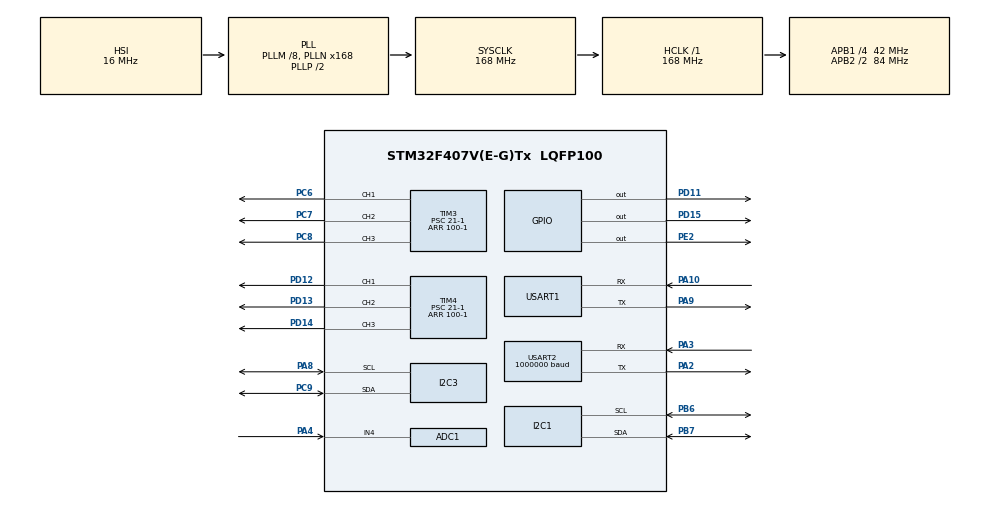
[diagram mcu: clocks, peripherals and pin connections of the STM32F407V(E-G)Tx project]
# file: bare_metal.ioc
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ADC1.Channel-0\#ChannelRegularConversion=ADC_CHANNEL_4
ADC1.NbrOfConversionFlag=1
ADC1.Rank-0\#ChannelRegularConversion=1
ADC1.SamplingTime-0\#ChannelRegularConversion=ADC_SAMPLETIME_3CYCLES
ADC1.master=1
Dma.I2C1_RX.0.Direction=DMA_PERIPH_TO_MEMORY
Dma.I2C1_RX.0.FIFOMode=DMA_FIFOMODE_DISABLE
Dma.I2C1_RX.0.Instance=DMA1_Stream0
Dma.I2C1_RX.0.MemDataAlignment=DMA_MDATAALIGN_BYTE
Dma.I2C1_RX.0.MemInc=DMA_MINC_ENABLE
Dma.I2C1_RX.0.Mode=DMA_NORMAL
Dma.I2C1_RX.0.PeriphDataAlignment=DMA_PDATAALIGN_BYTE
Dma.I2C1_RX.0.PeriphInc=DMA_PINC_DISABLE
Dma.I2C1_RX.0.Priority=DMA_PRIORITY_LOW
Dma.I2C3_RX.1.Direction=DMA_PERIPH_TO_MEMORY
Dma.I2C3_RX.1.FIFOMode=DMA_FIFOMODE_DISABLE
Dma.I2C3_RX.1.Instance=DMA1_Stream2
Dma.I2C3_RX.1.MemDataAlignment=DMA_MDATAALIGN_BYTE
Dma.I2C3_RX.1.MemInc=DMA_MINC_ENABLE
Dma.I2C3_RX.1.Mode=DMA_NORMAL
Dma.I2C3_RX.1.PeriphDataAlignment=DMA_PDATAALIGN_BYTE
Dma.I2C3_RX.1.PeriphInc=DMA_PINC_DISABLE
Dma.I2C3_RX.1.Priority=DMA_PRIORITY_LOW
Dma.Request0=I2C1_RX
Dma.Request1=I2C3_RX
Dma.Request2=USART2_RX
Dma.Request3=USART2_TX
Dma.Request4=USART1_TX
Dma.USART1_TX.4.Direction=DMA_MEMORY_TO_PERIPH
Dma.USART1_TX.4.FIFOMode=DMA_FIFOMODE_DISABLE
Dma.USART1_TX.4.Instance=DMA2_Stream7
Dma.USART1_TX.4.MemDataAlignment=DMA_MDATAALIGN_BYTE
Dma.USART1_TX.4.MemInc=DMA_MINC_ENABLE
Dma.USART1_TX.4.Mode=DMA_NORMAL
Dma.USART1_TX.4.PeriphDataAlignment=DMA_PDATAALIGN_BYTE
Dma.USART1_TX.4.PeriphInc=DMA_PINC_DISABLE
Dma.USART1_TX.4.Priority=DMA_PRIORITY_LOW
Dma.USART2_RX.2.Direction=DMA_PERIPH_TO_MEMORY
Dma.USART2_RX.2.FIFOMode=DMA_FIFOMODE_DISABLE
Dma.USART2_RX.2.Instance=DMA1_Stream5
Dma.USART2_RX.2.MemDataAlignment=DMA_MDATAALIGN_BYTE
Dma.USART2_RX.2.MemInc=DMA_MINC_ENABLE
Dma.USART2_RX.2.Mode=DMA_NORMAL
Dma.USART2_RX.2.PeriphDataAlignment=DMA_PDATAALIGN_BYTE
Dma.USART2_RX.2.PeriphInc=DMA_PINC_DISABLE
Dma.USART2_RX.2.Priority=DMA_PRIORITY_LOW
Dma.USART2_TX.3.Direction=DMA_MEMORY_TO_PERIPH
Dma.USART2_TX.3.FIFOMode=DMA_FIFOMODE_DISABLE
Dma.USART2_TX.3.Instance=DMA1_Stream6
Dma.USART2_TX.3.MemDataAlignment=DMA_MDATAALIGN_BYTE
Dma.USART2_TX.3.MemInc=DMA_MINC_ENABLE
Dma.USART2_TX.3.Mode=DMA_NORMAL
Dma.USART2_TX.3.PeriphDataAlignment=DMA_PDATAALIGN_BYTE
Dma.USART2_TX.3.PeriphInc=DMA_PINC_DISABLE
Dma.USART2_TX.3.Priority=DMA_PRIORITY_LOW
I2C1.I2C_Mode=I2C_Fast
I2C3.I2C_Mode=I2C_Fast
Mcu.Family=STM32F4
Mcu.Name=STM32F407V(E-G)Tx
Mcu.Package=LQFP100
NVIC.DMA1_Stream0_IRQn=true\:0\:0\:false\:false\:true\:false\:true\:true
NVIC.DMA1_Stream2_IRQn=true\:0\:0\:false\:false\:true\:false\:true\:true
NVIC.DMA1_Stream5_IRQn=true\:0\:0\:false\:false\:true\:false\:true\:true
NVIC.DMA1_Stream6_IRQn=true\:0\:0\:false\:false\:true\:false\:true\:true
NVIC.DMA2_Stream7_IRQn=true\:0\:0\:false\:false\:true\:false\:true\:true
NVIC.PriorityGroup=NVIC_PRIORITYGROUP_4
NVIC.TIM1_UP_TIM10_IRQn=true\:0\:0\:false\:false\:true\:true\:true\:true
NVIC.TIM2_IRQn=true\:1\:0\:true\:false\:true\:true\:true\:true
NVIC.USART1_IRQn=true\:0\:0\:true\:false\:true\:true\:true\:true
NVIC.USART2_IRQn=true\:5\:0\:true\:false\:true\:true\:true\:true
PA10.Mode=Asynchronous
PA10.Signal=USART1_RX
PA13.Mode=Serial_Wire
PA13.Signal=SYS_JTMS-SWDIO
PA14.Mode=Serial_Wire
PA14.Signal=SYS_JTCK-SWCLK
PA2.Mode=Asynchronous
PA2.Signal=USART2_TX
PA3.Mode=Asynchronous
PA3.Signal=USART2_RX
PA4.Signal=ADCx_IN4
PA8.Mode=I2C
PA8.Signal=I2C3_SCL
PA9.Mode=Asynchronous
PA9.Signal=USART1_TX
PB6.Mode=I2C
PB6.Signal=I2C1_SCL
PB7.Mode=I2C
PB7.Signal=I2C1_SDA
PC6.Signal=S_TIM3_CH1
PC7.Signal=S_TIM3_CH2
PC8.Signal=S_TIM3_CH3
PC9.Mode=I2C
PC9.Signal=I2C3_SDA
PD11.Signal=GPIO_Output
PD12.Signal=S_TIM4_CH1
PD13.Signal=S_TIM4_CH2
PD14.Signal=S_TIM4_CH3
PD15.Signal=GPIO_Output
PE2.Signal=GPIO_Output
PH0-OSC_IN.Mode=HSE-External-Oscillator
PH0-OSC_IN.Signal=RCC_OSC_IN
PH1-OSC_OUT.Mode=HSE-External-Oscillator
PH1-OSC_OUT.Signal=RCC_OSC_OUT
ProjectManager.HeapSize=0x200
ProjectManager.StackSize=0x400
ProjectManager.TargetToolchain=Makefile
RCC.48MHZClocksFreq_Value=84000000
RCC.AHBFreq_Value=168000000
RCC.APB1CLKDivider=RCC_HCLK_DIV4
RCC.APB1Freq_Value=42000000
RCC.APB1TimFreq_Value=84000000
RCC.APB2CLKDivider=RCC_HCLK_DIV2
RCC.APB2Freq_Value=84000000
RCC.APB2TimFreq_Value=168000000
RCC.CortexFreq_Value=168000000
RCC.HCLKFreq_Value=168000000
RCC.HSE_VALUE=8000000
RCC.HSI_VALUE=16000000
RCC.LSE_VALUE=32768
RCC.PLLM=8
RCC.PLLN=168
RCC.SYSCLKFreq_VALUE=168000000
RCC.SYSCLKSource=RCC_SYSCLKSOURCE_PLLCLK
RCC.VCOOutputFreq_Value=336000000
SH.ADCx_IN4.0=ADC1_IN4,IN4
SH.S_TIM3_CH1.0=TIM3_CH1,PWM Generation1 CH1
SH.S_TIM3_CH2.0=TIM3_CH2,PWM Generation2 CH2
SH.S_TIM3_CH3.0=TIM3_CH3,PWM Generation3 CH3
SH.S_TIM4_CH1.0=TIM4_CH1,PWM Generation1 CH1
SH.S_TIM4_CH2.0=TIM4_CH2,PWM Generation2 CH2
SH.S_TIM4_CH3.0=TIM4_CH3,PWM Generation3 CH3
TIM1.Period=10-1
TIM1.Prescaler=168-1
TIM2.AutoReloadPreload=TIM_AUTORELOAD_PRELOAD_ENABLE
TIM2.Period=100-1
TIM2.Prescaler=84-1
TIM3.Channel-PWM\ Generation1\ CH1=TIM_CHANNEL_1
TIM3.Channel-PWM\ Generation2\ CH2=TIM_CHANNEL_2
TIM3.Channel-PWM\ Generation3\ CH3=TIM_CHANNEL_3
TIM3.Period=100-1
TIM3.Prescaler=21-1
TIM4.Channel-PWM\ Generation1\ CH1=TIM_CHANNEL_1
TIM4.Channel-PWM\ Generation2\ CH2=TIM_CHANNEL_2
TIM4.Channel-PWM\ Generation3\ CH3=TIM_CHANNEL_3
TIM4.Period=100-1
TIM4.Prescaler=21-1
USART1.VirtualMode=VM_ASYNC
USART2.BaudRate=1000000
USART2.VirtualMode=VM_ASYNC
VP_TIM1_VS_ClockSourceINT.Mode=Internal
VP_TIM2_VS_ClockSourceINT.Mode=Internal
board=custom

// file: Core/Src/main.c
/* USER CODE BEGIN Header */
/**
 ******************************************************************************
 * @file           : main.c
 * @brief          : Main program body
 ******************************************************************************
 * @attention
 *
 * Copyright (c) 2025 STMicroelectronics.
 * All rights reserved.
 *
 * This software is licensed under terms that can be found in the LICENSE file
 * in the root directory of this software component.
 * If no LICENSE file comes with this software, it is provided AS-IS.
 *
 ******************************************************************************
 */
/* USER CODE END Header */
#include "main.h"
#include "adc.h"
#include "dma.h"
#include "i2c.h"
#include "tim.h"
#include "usart.h"
#include "gpio.h"

/* USER CODE BEGIN Includes */
#include "battery.h"
#include "log.h"
#include "foc.h"
#include "order.h"
#include "sensor.h"
#include "control.h"
#include "softtimer.h"
#include "driver_mpu6050.h"
#include "driver_as5600.h"
/* USER CODE END Includes */

void SystemClock_Config(void);

int main(void)
{

    /* MCU Configuration--------------------------------------------------------*/

    /* Reset of all peripherals, Initializes the Flash interface and the Systick. */
    HAL_Init();

    /* Configure the system clock */
    SystemClock_Config();

    /* Initialize all configured peripherals */
    MX_GPIO_Init();
    MX_DMA_Init();
    MX_USART1_UART_Init();
    MX_ADC1_Init();
    MX_I2C1_Init();
    MX_I2C3_Init();
    MX_TIM3_Init();
    MX_TIM4_Init();
    MX_USART2_UART_Init();
    MX_TIM2_Init();
    MX_TIM1_Init();
    /* USER CODE BEGIN 2 */

    Order_Init();
    Log_Init();

    HAL_Delay(1000);
    PID_Init();
    Filter_Init();
    Sensor_Init();
    Control_Init();
    SoftwareTimer_Init();
    Info_Init();
    HAL_TIM_Base_Start_IT(&htim2);
    /* USER CODE END 2 */

    /* Infinite loop */
    while (1) {

        /* USER CODE BEGIN 3 */

        SoftwareTimer_Update();
        Order_ParseCommand();
        Sensor_GetMpuData();
        Sensor_GetFocData();
        Control_MotionMove();
        Info_ProcessAffair();

        // HAL_Delay(1000);
        // LOG_ERROR("Info_GetUsTick: %d", Info_GetUsTick());
    }
    /* USER CODE END 3 */
}

void SystemClock_Config(void)
{
    RCC_OscInitTypeDef RCC_OscInitStruct = {0};
    RCC_ClkInitTypeDef RCC_ClkInitStruct = {0};

    /** Configure the main internal regulator output voltage
     */
    __HAL_RCC_PWR_CLK_ENABLE();
    __HAL_PWR_VOLTAGESCALING_CONFIG(PWR_REGULATOR_VOLTAGE_SCALE1);

    /** Initializes the RCC Oscillators according to the specified parameters
     * in the RCC_OscInitTypeDef structure.
     */
    RCC_OscInitStruct.OscillatorType = RCC_OSCILLATORTYPE_HSI;
    RCC_OscInitStruct.HSIState = RCC_HSI_ON;
    RCC_OscInitStruct.HSICalibrationValue = RCC_HSICALIBRATION_DEFAULT;
    RCC_OscInitStruct.PLL.PLLState = RCC_PLL_ON;
    RCC_OscInitStruct.PLL.PLLSource = RCC_PLLSOURCE_HSI;
    RCC_OscInitStruct.PLL.PLLM = 8;
    RCC_OscInitStruct.PLL.PLLN = 168;
    RCC_OscInitStruct.PLL.PLLP = RCC_PLLP_DIV2;
    RCC_OscInitStruct.PLL.PLLQ = 4;
    if (HAL_RCC_OscConfig(&RCC_OscInitStruct) != HAL_OK) {
        Error_Handler();
    }

    /** Initializes the CPU, AHB and APB buses clocks
     */
    RCC_ClkInitStruct.ClockType = RCC_CLOCKTYPE_HCLK | RCC_CLOCKTYPE_SYSCLK
                                  | RCC_CLOCKTYPE_PCLK1 | RCC_CLOCKTYPE_PCLK2;
    RCC_ClkInitStruct.SYSCLKSource = RCC_SYSCLKSOURCE_PLLCLK;
    RCC_ClkInitStruct.AHBCLKDivider = RCC_SYSCLK_DIV1;
    RCC_ClkInitStruct.APB1CLKDivider = RCC_HCLK_DIV4;
    RCC_ClkInitStruct.APB2CLKDivider = RCC_HCLK_DIV2;

    if (HAL_RCC_ClockConfig(&RCC_ClkInitStruct, FLASH_LATENCY_5) != HAL_OK) {
        Error_Handler();
    }
}

void Error_Handler(void)
{
    __disable_irq();
    while (1) {
    }
}
